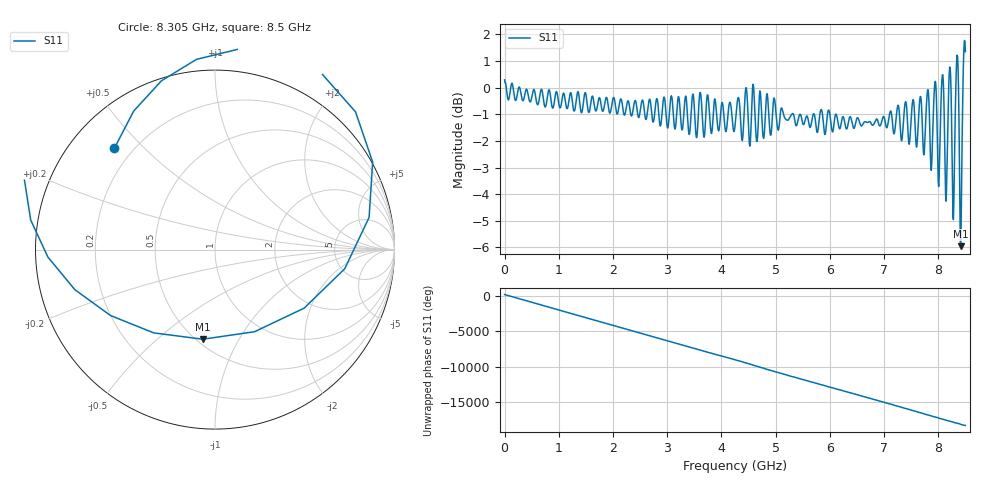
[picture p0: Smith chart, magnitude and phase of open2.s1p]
# Hz S RI R 50
! CMT, S5085, 16077402, 21.3.2/1
! Date: 11/17/2021 5:16:04 PM
! Data: Format (Calibration Info)
! Freq	S22:Re/Im(--)
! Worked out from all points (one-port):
!   1001 points, 1 MHz to 8.5 GHz, reference 50 ohm
!   lowest |S11| = -6.0 dB at 8.415 GHz (marker M1), VSWR 3.03, Z = 26.8 - j35.9 ohm
!   |S11| at or under -10 dB: nowhere
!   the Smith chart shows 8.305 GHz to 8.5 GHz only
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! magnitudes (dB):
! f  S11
! 1 MHz  0.3
! 1.063 GHz  -0.4
! 2.126 GHz  -0.5
! 3.188 GHz  -0.6
! 4.25 GHz  -1.4
! 4.31 GHz  -0.4
! 4.386 GHz  -2.0
! 4.454 GHz  0.0
! 4.522 GHz  -2.2
! 4.59 GHz  0.1
! 4.65 GHz  -2.0
! 5.313 GHz  -1.0
! 6.375 GHz  -1.1
! 7.438 GHz  -1.5
! 7.608 GHz  -2.1
! 7.667 GHz  -0.3
! 7.735 GHz  -2.5
! 7.803 GHz  -0.1
! 7.871 GHz  -3.1
! 7.939 GHz  0.2
! 8.007 GHz  -3.7
! 8.075 GHz  0.5
! 8.143 GHz  -4.3
! 8.211 GHz  0.8
! 8.279 GHz  -5.0
! 8.347 GHz  1.2
! 8.415 GHz  -6.0
! 8.5 GHz  1.4
